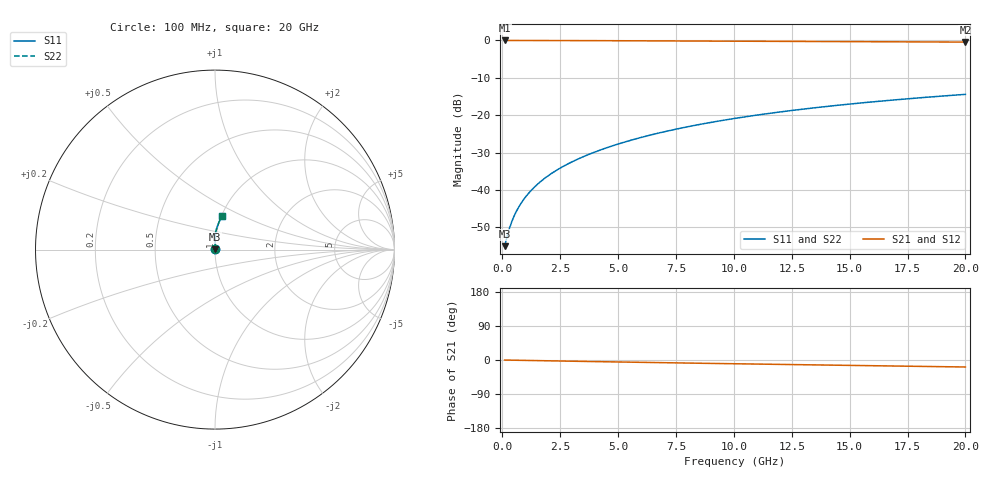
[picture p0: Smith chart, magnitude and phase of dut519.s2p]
! Touchstone file exported from HFSS 2024.1.0
!  File:  C:/UserFiles/LocalFiles/RDL_TSV_Batchsim/temp_RDL_bottom_519_1779688009.aedt
!  Generated:  01:49:18 PM May 25, 2026
!  Design:  RDL_bottom
!  Project:  temp_RDL_bottom_519_1779688009
!  Setup:  Setup1
!  Solution:  Sweep
! Variables:
!  dtsv = 10.80580581um
!  hbump = 3um
!  htsv = 76.18um
!  ldown = 230.7um
!  lrdl = 100um
!  p = 40
!  p1 = 51.73um
!  rhole = 1um
!  t = 450um
!  tdown = 2.57um
!  trdl = 3.915915916um
!  wdown = 26.37um
!  wrdl = 20um
# GHz S MA R 50.000000
! Terminal data exported
! Port[1] = RDL1_T1
! Port[2] = RDL1_T2
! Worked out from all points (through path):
!   200 points, 100 MHz to 20 GHz, reference 50 ohm
!   highest |S21| = -0.01 dB at 100 MHz (marker M1); lowest = -0.4 dB at 20 GHz (marker M2)
!   group delay of S21, straight-line fit = 2.53 ps
!   lowest |S11| = -55.0 dB at 100 MHz (marker M3), VSWR 1.00, Z = 50.2 + j0.0869 ohm
!   |S11| at or under -10 dB: start of sweep to end of sweep
!   |S22| runs from -55.0 to -14.4 dB; largest |S21 - S12| = 5.2e-15
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0.1  0.001776 29.2  0.9984 -0.1  0.9984 -0.1  0.001776 29.2
! Gamma 0 0 0 0
! Port Impedance 50 0 50 0
0.3  0.003015 56.4  0.9983 -0.3  0.9983 -0.3  0.003015 56.4
0.4  0.003714 62.4  0.9982 -0.4  0.9982 -0.4  0.003714 62.4
0.5  0.004421 66.6  0.9981 -0.6  0.9981 -0.6  0.004421 66.6
0.6  0.005133 69.7  0.998 -0.7  0.998 -0.7  0.005133 69.7
0.8  0.006575 74.1  0.9978 -0.9  0.9978 -0.9  0.006575 74.1
1  0.008041 77.2  0.9976 -1.1  0.9976 -1.1  0.008041 77.2
1.2  0.009528 79.5  0.9975 -1.3  0.9975 -1.3  0.009528 79.5
1.4  0.01104 81.3  0.9972 -1.5  0.9972 -1.5  0.01104 81.3
1.7  0.01333 83.3  0.9969 -1.8  0.9969 -1.8  0.01333 83.3
2.2  0.01724 85.6  0.9962 -2.4  0.9962 -2.4  0.01724 85.6
2.8  0.02207 87.4  0.9952 -3.0  0.9952 -3.0  0.02207 87.4
3.5  0.02792 88.9  0.9937 -3.7  0.9937 -3.7  0.02792 88.9
4.2  0.03398 89.7  0.9921 -4.4  0.9921 -4.4  0.03398 89.7
5  0.04118 90.3  0.9901 -5.2  0.9901 -5.2  0.04118 90.3
6.8  0.05822 90.3  0.9852 -7.0  0.9852 -7.0  0.05822 90.3
8.4  0.07406 89.5  0.9807 -8.5  0.9807 -8.5  0.07406 89.5
10.1  0.09125 88.1  0.976 -10.0  0.976 -10.0  0.09125 88.1
11.7  0.1076 86.6  0.9716 -11.4  0.9716 -11.4  0.1075 86.6
13.4  0.1248 84.8  0.9671 -12.9  0.9671 -12.9  0.1248 84.8
16.7  0.1579 81.3  0.9584 -15.7  0.9584 -15.7  0.1579 81.3
20  0.19 77.9  0.9497 -18.5  0.9497 -18.5  0.19 77.9
